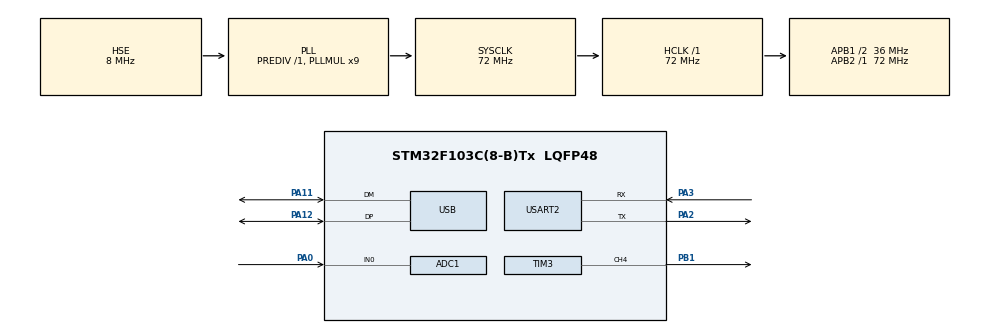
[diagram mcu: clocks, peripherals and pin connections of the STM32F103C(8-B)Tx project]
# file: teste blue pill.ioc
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ADC1.Channel-0\#ChannelRegularConversion=ADC_CHANNEL_0
ADC1.NbrOfConversionFlag=1
ADC1.Rank-0\#ChannelRegularConversion=1
ADC1.SamplingTime-0\#ChannelRegularConversion=ADC_SAMPLETIME_1CYCLE_5
ADC1.master=1
Dma.Request0=USART2_RX
Dma.USART2_RX.0.Direction=DMA_PERIPH_TO_MEMORY
Dma.USART2_RX.0.Instance=DMA1_Channel6
Dma.USART2_RX.0.MemDataAlignment=DMA_MDATAALIGN_BYTE
Dma.USART2_RX.0.MemInc=DMA_MINC_ENABLE
Dma.USART2_RX.0.Mode=DMA_NORMAL
Dma.USART2_RX.0.PeriphDataAlignment=DMA_PDATAALIGN_BYTE
Dma.USART2_RX.0.PeriphInc=DMA_PINC_DISABLE
Dma.USART2_RX.0.Priority=DMA_PRIORITY_LOW
Mcu.Family=STM32F1
Mcu.Name=STM32F103C(8-B)Tx
Mcu.Package=LQFP48
NVIC.DMA1_Channel6_IRQn=true\:0\:0\:false\:false\:true\:false\:true\:true
NVIC.PriorityGroup=NVIC_PRIORITYGROUP_4
NVIC.USART2_IRQn=true\:0\:0\:false\:false\:true\:true\:true\:true
NVIC.USB_LP_CAN1_RX0_IRQn=true\:0\:0\:false\:false\:true\:false\:true\:true
PA0-WKUP.Signal=ADCx_IN0
PA11.Mode=Device
PA11.Signal=USB_DM
PA12.Mode=Device
PA12.Signal=USB_DP
PA13.Mode=Serial_Wire
PA13.Signal=SYS_JTMS-SWDIO
PA14.Mode=Serial_Wire
PA14.Signal=SYS_JTCK-SWCLK
PA2.Mode=Asynchronous
PA2.Signal=USART2_TX
PA3.Mode=Asynchronous
PA3.Signal=USART2_RX
PB1.Signal=S_TIM3_CH4
PD0-OSC_IN.Mode=HSE-External-Oscillator
PD0-OSC_IN.Signal=RCC_OSC_IN
PD1-OSC_OUT.Mode=HSE-External-Oscillator
PD1-OSC_OUT.Signal=RCC_OSC_OUT
ProjectManager.HeapSize=0x200
ProjectManager.StackSize=0x400
ProjectManager.TargetToolchain=STM32CubeIDE
RCC.ADCPresc=RCC_ADCPCLK2_DIV6
RCC.AHBFreq_Value=72000000
RCC.APB1CLKDivider=RCC_HCLK_DIV2
RCC.APB1Freq_Value=36000000
RCC.APB1TimFreq_Value=72000000
RCC.APB2Freq_Value=72000000
RCC.APB2TimFreq_Value=72000000
RCC.HCLKFreq_Value=72000000
RCC.PLLMUL=RCC_PLL_MUL9
RCC.PLLSourceVirtual=RCC_PLLSOURCE_HSE
RCC.SYSCLKFreq_VALUE=72000000
RCC.SYSCLKSource=RCC_SYSCLKSOURCE_PLLCLK
RCC.USBFreq_Value=48000000
RCC.USBPrescaler=RCC_USBCLKSOURCE_PLL_DIV1_5
SH.ADCx_IN0.0=ADC1_IN0,IN0
SH.S_TIM3_CH4.0=TIM3_CH4,PWM Generation4 CH4
TIM3.Channel-PWM\ Generation4\ CH4=TIM_CHANNEL_4
TIM3.Period=100
TIM3.Prescaler=71
USART2.VirtualMode=VM_ASYNC
USB_DEVICE.CLASS_NAME_FS=CDC
USB_DEVICE.VirtualMode=Cdc
USB_DEVICE.VirtualModeFS=Cdc_FS
VP_USB_DEVICE_VS_USB_DEVICE_CDC_FS.Mode=CDC_FS
board=custom

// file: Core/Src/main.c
/* USER CODE BEGIN Header */
/**
  ******************************************************************************
  * @file           : main.c
  * @brief          : Main program body
  ******************************************************************************
  * @attention
  *
  * Copyright (c) 2026 STMicroelectronics.
  * All rights reserved.
  *
  * This software is licensed under terms that can be found in the LICENSE file
  * in the root directory of this software component.
  * If no LICENSE file comes with this software, it is provided AS-IS.
  *
  ******************************************************************************
  */
/* USER CODE END Header */
#include "main.h"
#include "usb_device.h"

/* USER CODE BEGIN Includes */
#include "string.h"
#include "stdio.h"
#include <stdlib.h>

/* USER CODE END Includes */

/* USER CODE BEGIN PD */
#define BUFFER_SIZE 20
#define LUT_SIZE 28
/* USER CODE END PD */

ADC_HandleTypeDef hadc1;

TIM_HandleTypeDef htim3;

UART_HandleTypeDef huart2;
DMA_HandleTypeDef hdma_usart2_rx;

/* USER CODE BEGIN PV */

uint8_t brilho_led = 50;
uint8_t resistencia_input = 0;

char rx_buffer[10];
uint8_t rx_index = 0;
uint8_t rx_data;

typedef struct {
    uint8_t pwm;
    float resistance;
} LutPoint;

LutPoint lut[LUT_SIZE] = {
};

#define RX_BUFFER_SIZE 50
char rx_dma_buffer[RX_BUFFER_SIZE];

/* USER CODE END PV */

void SystemClock_Config(void);
static void MX_GPIO_Init(void);
static void MX_DMA_Init(void);
static void MX_USART2_UART_Init(void);
static void MX_ADC1_Init(void);
static void MX_TIM3_Init(void);

/* USER CODE BEGIN 0 */
int _write(int file, char *ptr, int len) {
  // Receber os dados do printf e enviar pela UART
    HAL_UART_Transmit(&huart2, (uint8_t*)ptr, len, HAL_MAX_DELAY);
    return len;
}

float read_adc(void){
	// realiza a leitura do valor no ADC e retorna um float com a resistencia medida
	uint32_t adc_value = 0;
	float ldr_resistance = 0.0;
	const float R_FIXO = 10000.0;

	HAL_ADC_Start(&hadc1);

	if (HAL_ADC_PollForConversion(&hadc1, 100) == HAL_OK)
	{
	  // Obtém o valor (0 a 4095)
	  adc_value = HAL_ADC_GetValue(&hadc1);

	  if (adc_value > 0 && adc_value < 4095)
	  {
		  ldr_resistance = R_FIXO * ((4095.0 / (float)adc_value) - 1.0);
	  }
	}
	HAL_ADC_Stop(&hadc1);

	return ldr_resistance;
}

float resistencia_media() {
	// Calcula a média móvel do valor da resistencia obtido pelo ldr
    static float buffer[BUFFER_SIZE] = {0};
    static int index = 0;
    static float soma = 0.0;
    static int count = 0;

    //Soma os valores do buffer
    soma -= buffer[index];
    buffer[index] = read_adc();
    soma += buffer[index];

    // Avança o índice
    index = (index + 1) % BUFFER_SIZE;

    // Se o buffer ainda não encheu
    if (count < BUFFER_SIZE) {
        count++;
        return soma / count;
    }

    return soma / BUFFER_SIZE;
}

float medir_resistencia_media() {
    float soma = 0;

    for(int i = 0; i < 20; i++) {
        soma += read_adc();
        HAL_Delay(5);
    }

    return soma / 20;
}

uint8_t resistencia_pwm(float res){
	// Retorna um valor para o pwm proporcional a resistencia desejada, usando a lut como referencia

	if (res <= lut[0].resistance){ return lut[0].pwm; }
	if (res >= lut[LUT_SIZE-1].resistance){ return lut[LUT_SIZE-1].pwm; }

	for(int i = 0; i < LUT_SIZE-1; i++) {
		// Procura se a resistencia desejada está entre os valores da lut (ordem crescente)
		float r1 = lut[i].resistance;
		float r2 = lut[i + 1].resistance;

		if(res >= r1 && res <= r2) {
			uint8_t pwm1 = lut[i].pwm;
			uint8_t pwm2 = lut[i + 1].pwm;

			if (r1 == r2)
				return pwm1;

			// Interpolação linear (a matemática ajusta automaticamente o sinal negativo do PWM)
			float pwm = pwm1 + ((res - r1) * (pwm2 - pwm1)) / (r2 - r1);

			return (uint8_t)pwm;
		}
	}

	return 0;
}

void criar_lut(){
	// Cria a Lut para a relação pwm -> resistencia do ldr
	uint8_t index_lut = 0;

	for (int i = 100; i >= 15; i-=5){
		__HAL_TIM_SET_COMPARE(&htim3, TIM_CHANNEL_4, i);
		HAL_Delay(200);

		lut[index_lut].pwm = i;
		lut[index_lut].resistance = medir_resistencia_media();

		printf("PWM: %d | RES: %d\r\n",
		               lut[index_lut].pwm,
		               (int)lut[index_lut].resistance);

		index_lut ++;
	}

	for (int i = 10; i >= 1; i--){
			__HAL_TIM_SET_COMPARE(&htim3, TIM_CHANNEL_4, i);
			HAL_Delay(200);

			lut[index_lut].pwm = i;
			lut[index_lut].resistance = medir_resistencia_media();

			printf("PWM: %d | RES: %d\r\n",
					               lut[index_lut].pwm,
					               (int)lut[index_lut].resistance);

			index_lut ++;
		}
}

/* USER CODE END 0 */

int main(void)
{

  /* MCU Configuration--------------------------------------------------------*/

  /* Reset of all peripherals, Initializes the Flash interface and the Systick. */
  HAL_Init();

  /* Configure the system clock */
  SystemClock_Config();

  /* Initialize all configured peripherals */
  MX_GPIO_Init();
  MX_DMA_Init();
  MX_USART2_UART_Init();
  MX_USB_DEVICE_Init();
  MX_ADC1_Init();
  MX_TIM3_Init();
  /* USER CODE BEGIN 2 */
  HAL_TIM_PWM_Start(&htim3, TIM_CHANNEL_4);

  criar_lut();

  //  HAL_UART_Receive_IT(&huart2, &rx_data, 1);
  HAL_UARTEx_ReceiveToIdle_DMA(&huart2, (uint8_t *)rx_dma_buffer, RX_BUFFER_SIZE);
  __HAL_DMA_DISABLE_IT(&hdma_usart2_rx, DMA_IT_HT);
  /* USER CODE END 2 */

  /* Infinite loop */
  /* USER CODE BEGIN WHILE */
  while (1)
  {
	  __HAL_TIM_SET_COMPARE(&htim3, TIM_CHANNEL_4, brilho_led);

	  float resistance = resistencia_media();
	  // ALTERADO AQUI: Removido %f e adicionado cast (int) para converter float em int no print
	  printf("Resistencia media: %d | Brilho LED: %d%%\n", (int)resistance, brilho_led);

	  HAL_Delay(100);
    /* USER CODE END WHILE */

  }
}

void SystemClock_Config(void)
{
  RCC_OscInitTypeDef RCC_OscInitStruct = {0};
  RCC_ClkInitTypeDef RCC_ClkInitStruct = {0};
  RCC_PeriphCLKInitTypeDef PeriphClkInit = {0};

  /** Initializes the RCC Oscillators according to the specified parameters
  * in the RCC_OscInitTypeDef structure.
  */
  RCC_OscInitStruct.OscillatorType = RCC_OSCILLATORTYPE_HSE;
  RCC_OscInitStruct.HSEState = RCC_HSE_ON;
  RCC_OscInitStruct.HSEPredivValue = RCC_HSE_PREDIV_DIV1;
  RCC_OscInitStruct.HSIState = RCC_HSI_ON;
  RCC_OscInitStruct.PLL.PLLState = RCC_PLL_ON;
  RCC_OscInitStruct.PLL.PLLSource = RCC_PLLSOURCE_HSE;
  RCC_OscInitStruct.PLL.PLLMUL = RCC_PLL_MUL9;
  if (HAL_RCC_OscConfig(&RCC_OscInitStruct) != HAL_OK)
  {
    Error_Handler();
  }

  /** Initializes the CPU, AHB and APB buses clocks
  */
  RCC_ClkInitStruct.ClockType = RCC_CLOCKTYPE_HCLK|RCC_CLOCKTYPE_SYSCLK
                              |RCC_CLOCKTYPE_PCLK1|RCC_CLOCKTYPE_PCLK2;
  RCC_ClkInitStruct.SYSCLKSource = RCC_SYSCLKSOURCE_PLLCLK;
  RCC_ClkInitStruct.AHBCLKDivider = RCC_SYSCLK_DIV1;
  RCC_ClkInitStruct.APB1CLKDivider = RCC_HCLK_DIV2;
  RCC_ClkInitStruct.APB2CLKDivider = RCC_HCLK_DIV1;

  if (HAL_RCC_ClockConfig(&RCC_ClkInitStruct, FLASH_LATENCY_2) != HAL_OK)
  {
    Error_Handler();
  }
  PeriphClkInit.PeriphClockSelection = RCC_PERIPHCLK_ADC|RCC_PERIPHCLK_USB;
  PeriphClkInit.AdcClockSelection = RCC_ADCPCLK2_DIV6;
  PeriphClkInit.UsbClockSelection = RCC_USBCLKSOURCE_PLL_DIV1_5;
  if (HAL_RCCEx_PeriphCLKConfig(&PeriphClkInit) != HAL_OK)
  {
    Error_Handler();
  }
}

static void MX_ADC1_Init(void)
{

  ADC_ChannelConfTypeDef sConfig = {0};

  /** Common config
  */
  hadc1.Instance = ADC1;
  hadc1.Init.ScanConvMode = ADC_SCAN_DISABLE;
  hadc1.Init.ContinuousConvMode = DISABLE;
  hadc1.Init.DiscontinuousConvMode = DISABLE;
  hadc1.Init.ExternalTrigConv = ADC_SOFTWARE_START;
  hadc1.Init.DataAlign = ADC_DATAALIGN_RIGHT;
  hadc1.Init.NbrOfConversion = 1;
  if (HAL_ADC_Init(&hadc1) != HAL_OK)
  {
    Error_Handler();
  }

  /** Configure Regular Channel
  */
  sConfig.Channel = ADC_CHANNEL_0;
  sConfig.Rank = ADC_REGULAR_RANK_1;
  sConfig.SamplingTime = ADC_SAMPLETIME_1CYCLE_5;
  if (HAL_ADC_ConfigChannel(&hadc1, &sConfig) != HAL_OK)
  {
    Error_Handler();
  }

}

static void MX_TIM3_Init(void)
{

  TIM_MasterConfigTypeDef sMasterConfig = {0};
  TIM_OC_InitTypeDef sConfigOC = {0};

  htim3.Instance = TIM3;
  htim3.Init.Prescaler = 71;
  htim3.Init.CounterMode = TIM_COUNTERMODE_UP;
  htim3.Init.Period = 100;
  htim3.Init.ClockDivision = TIM_CLOCKDIVISION_DIV1;
  htim3.Init.AutoReloadPreload = TIM_AUTORELOAD_PRELOAD_DISABLE;
  if (HAL_TIM_PWM_Init(&htim3) != HAL_OK)
  {
    Error_Handler();
  }
  sMasterConfig.MasterOutputTrigger = TIM_TRGO_RESET;
  sMasterConfig.MasterSlaveMode = TIM_MASTERSLAVEMODE_DISABLE;
  if (HAL_TIMEx_MasterConfigSynchronization(&htim3, &sMasterConfig) != HAL_OK)
  {
    Error_Handler();
  }
  sConfigOC.OCMode = TIM_OCMODE_PWM1;
  sConfigOC.Pulse = 0;
  sConfigOC.OCPolarity = TIM_OCPOLARITY_HIGH;
  sConfigOC.OCFastMode = TIM_OCFAST_DISABLE;
  if (HAL_TIM_PWM_ConfigChannel(&htim3, &sConfigOC, TIM_CHANNEL_4) != HAL_OK)
  {
    Error_Handler();
  }
  HAL_TIM_MspPostInit(&htim3);

}

static void MX_USART2_UART_Init(void)
{

  huart2.Instance = USART2;
  huart2.Init.BaudRate = 115200;
  huart2.Init.WordLength = UART_WORDLENGTH_8B;
  huart2.Init.StopBits = UART_STOPBITS_1;
  huart2.Init.Parity = UART_PARITY_NONE;
  huart2.Init.Mode = UART_MODE_TX_RX;
  huart2.Init.HwFlowCtl = UART_HWCONTROL_NONE;
  huart2.Init.OverSampling = UART_OVERSAMPLING_16;
  if (HAL_UART_Init(&huart2) != HAL_OK)
  {
    Error_Handler();
  }

}

static void MX_DMA_Init(void)
{

  /* DMA controller clock enable */
  __HAL_RCC_DMA1_CLK_ENABLE();

  /* DMA interrupt init */
  /* DMA1_Channel6_IRQn interrupt configuration */
  HAL_NVIC_SetPriority(DMA1_Channel6_IRQn, 0, 0);
  HAL_NVIC_EnableIRQ(DMA1_Channel6_IRQn);

}

static void MX_GPIO_Init(void)
{

  /* GPIO Ports Clock Enable */
  __HAL_RCC_GPIOD_CLK_ENABLE();
  __HAL_RCC_GPIOA_CLK_ENABLE();
  __HAL_RCC_GPIOB_CLK_ENABLE();

}

/* USER CODE BEGIN 4 */

void HAL_UARTEx_RxEventCallback(UART_HandleTypeDef *huart, uint16_t Size){
	if (huart->Instance == USART2) {
	// Garante que a string recebida termine com o caractere nulo
	rx_dma_buffer[Size] = '\0';

	int nova_res_int;
	int index, novo_pwm;

	if (rx_dma_buffer[0] == 'R' || rx_dma_buffer[0] == 'r') {
		// Lê como %d em vez de %f
		if (sscanf(rx_dma_buffer, "%*c %d", &nova_res_int) == 1) {
			// Converte de volta para float para a função de resistência processar
			brilho_led = resistencia_pwm((float)nova_res_int);
			// Imprime como inteiro
			printf("Resistencia alvo atualizada para: %d\r\n", nova_res_int);
		}
	}

	else if (rx_dma_buffer[0] == 'L' || rx_dma_buffer[0] == 'l') {
		// Lê o ultimo parâmetro como %d
		if (sscanf(rx_dma_buffer, "%*c %d %d %d", &index, &novo_pwm, &nova_res_int) == 3) {
			if (index >= 0 && index < LUT_SIZE) {
				lut[index].pwm = (uint8_t)novo_pwm;
				lut[index].resistance = (float)nova_res_int; // Salva como float no struct para não quebrar a interpolação

				// Imprime os valores todos como inteiros %d
				printf("LUT[%d] atualizada: PWM=%d, RES=%d\r\n", index, lut[index].pwm, (int)lut[index].resistance);
			} else {
				printf("Erro: Indice da LUT fora do limite!\r\n");
			}
		}
	}

	// Reinicia o DMA para aguardar o próximo comando do terminal
	HAL_UARTEx_ReceiveToIdle_DMA(&huart2, (uint8_t *)rx_dma_buffer, RX_BUFFER_SIZE);
	__HAL_DMA_DISABLE_IT(&hdma_usart2_rx, DMA_IT_HT);
}
}
/* USER CODE END 4 */

void Error_Handler(void)
{
  __disable_irq();
  while (1)
  {
  }
}
